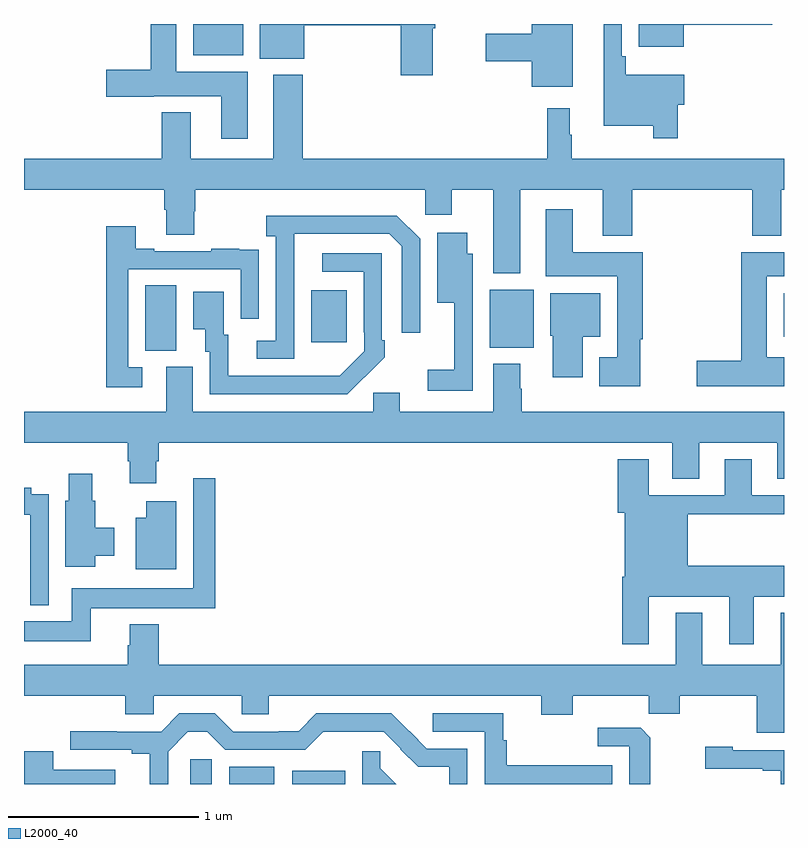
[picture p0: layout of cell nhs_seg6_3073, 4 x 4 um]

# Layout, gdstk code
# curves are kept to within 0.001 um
import gdstk
lib = gdstk.Library(unit=1e-6, precision=1e-09)
def R(c, l, rs):  # rectangles x0, y0, x1, y1
    for r in rs: c.add(gdstk.rectangle(r[:2], r[2:], *l))
def P(c, l, *ps):  # polygons
    for p in ps: c.add(gdstk.Polygon(p, *l))
L2000_40 = (2000, 40)

nhs_seg6_3073 = lib.new_cell('nhs_seg6_3073')
R(nhs_seg6_3073, L2000_40, [(291.876,985.5,291.988,985.631), (292.079,985.5,292.318,985.591), (292.412,985.5,292.69,985.57), (291.638,987.781,291.802,988.124), (293.45,987.797,293.683,988.102), (292.511,987.825,292.699,988.099), (294.998,987.854,295,988.084), (291.89,989.336,292.153,989.5)])
P(nhs_seg6_3073, L2000_40, [(294.472,989.495),(294.937,989.495),(294.937,989.5),(294.236,989.5),(294.236,989.381),(294.472,989.381)],
  [(293.152,989.477),(293.165,989.477),(293.165,989.5),(292.241,989.5),(292.241,989.318),(292.474,989.318),(292.474,989.494),(292.982,989.494),(292.982,989.229),(293.152,989.229)],
  [(294.44,989.075),(294.475,989.075),(294.475,989.233),(294.167,989.233),(294.167,989.329),(294.147,989.329),(294.147,989.5),(294.05,989.5),(294.05,988.964),(294.312,988.964),(294.312,988.899),(294.44,988.899)],
  [(292.177,989.248),(291.802,989.248),(291.802,989.5),(291.668,989.5),(291.668,989.258),(291.432,989.258),(291.432,989.116),(291.684,989.116),(291.684,989.12),(292.037,989.12),(292.037,988.896),(292.177,988.896)],
  [(293.887,989.5),(293.672,989.5),(293.672,989.45),(293.43,989.45),(293.43,989.303),(293.672,989.303),(293.672,989.171),(293.887,989.171)],
  [(293.611,988.628),(294.047,988.628),(294.047,988.385),(294.2,988.385),(294.2,988.628),(294.833,988.628),(294.833,988.385),(294.985,988.385),(294.985,988.628),(295,988.628),(295,988.792),(293.884,988.792),(293.884,988.916),(293.872,988.916),(293.872,989.056),(293.755,989.056),(293.755,988.792),(292.466,988.792),(292.466,989.233),(292.313,989.233),(292.313,988.792),(291.877,988.792),(291.877,989.035),(291.725,989.035),(291.725,988.792),(291,988.792),(291,988.628),(291.737,988.628),(291.737,988.522),(291.749,988.522),(291.749,988.39),(291.897,988.39),(291.897,988.515),(291.902,988.515),(291.902,988.628),(293.112,988.628),(293.112,988.497),(293.251,988.497),(293.251,988.628),(293.471,988.628),(293.471,988.187),(293.611,988.187)],
  [(294.244,987.841),(294.257,987.841),(294.257,988.3),(293.887,988.3),(293.887,988.525),(293.747,988.525),(293.747,988.172),(294.122,988.172),(294.122,987.745),(294.027,987.745),(294.027,987.593),(294.244,987.593)],
  [(292.422,988.195),(292.423,988.395),(292.923,988.395),(292.989,988.329),(292.989,987.876),(293.085,987.876),(293.085,988.369),(292.962,988.492),(292.275,988.492),(292.275,988.382),(292.326,988.382),(292.326,987.834),(292.224,987.834),(292.224,987.738),(292.422,987.738)],
  [(291.622,987.693),(291.549,987.693),(291.549,988.209),(292.14,988.209),(292.14,987.948),(292.236,987.948),(292.236,988.202),(292.235,988.202),(292.235,988.311),(292.133,988.311),(292.133,988.318),(291.985,988.318),(291.985,988.305),(291.685,988.305),(291.685,988.318),(291.589,988.318),(291.589,988.435),(291.433,988.435),(291.433,987.588),(291.622,987.588)],
  [(293.361,988.291),(293.332,988.291),(293.332,988.402),(293.174,988.402),(293.174,988.034),(293.264,988.034),(293.264,987.679),(293.124,987.679),(293.124,987.57),(293.361,987.57)],
  [(295,987.745),(294.91,987.745),(294.91,988.172),(295,988.172),(295,988.3),(294.776,988.3),(294.776,987.728),(294.54,987.728),(294.54,987.593),(295,987.593)],
  [(292.793,987.643),(292.794,987.642),(292.899,987.747),(292.899,987.835),(292.884,987.835),(292.884,988.293),(292.569,988.293),(292.569,988.197),(292.788,988.197),(292.788,987.877),(292.791,987.877),(292.791,987.777),(292.663,987.649),(292.075,987.648),(292.075,987.864),(292.051,987.864),(292.051,988.09),(291.89,988.09),(291.89,987.893),(291.953,987.893),(291.953,987.774),(291.978,987.774),(291.978,987.552),(292.702,987.552)],
  [(293.941,987.854),(294.034,987.854),(294.034,988.084),(293.771,988.084),(293.771,987.858),(293.783,987.858),(293.783,987.642),(293.941,987.642)],
  [(291.697,987.198),(291.71,987.198),(291.71,987.296),(294.413,987.296),(294.413,987.106),(294.553,987.106),(294.553,987.296),(294.965,987.296),(294.965,987.106),(295,987.106),(295,987.46),(293.619,987.46),(293.619,987.581),(293.611,987.581),(293.611,987.712),(293.471,987.712),(293.471,987.46),(292.978,987.46),(292.978,987.558),(292.839,987.558),(292.839,987.46),(291.889,987.46),(291.889,987.696),(291.749,987.696),(291.749,987.46),(291,987.46),(291,987.296),(291.545,987.296),(291.545,987.198),(291.557,987.198),(291.557,987.084),(291.697,987.084)],
  [(294.289,986.486),(294.713,986.486),(294.713,986.235),(294.841,986.235),(294.841,986.486),(295,986.486),(295,986.65),(294.493,986.65),(294.493,986.92),(295,986.92),(295,987.021),(294.829,987.021),(294.829,987.208),(294.689,987.208),(294.689,987.021),(294.289,987.021),(294.289,987.208),(294.125,987.208),(294.125,986.928),(294.161,986.928),(294.161,986.59),(294.149,986.59),(294.149,986.235),(294.289,986.235)],
  [(291.376,986.702),(291.475,986.702),(291.475,986.85),(291.376,986.85),(291.376,986.991),(291.358,986.991),(291.358,987.133),(291.236,987.133),(291.236,986.991),(291.218,986.991),(291.218,986.643),(291.376,986.643)],
  [(291.35,986.426),(291.884,986.426),(291.884,986.424),(292.007,986.424),(292.007,987.109),(291.891,987.109),(291.891,986.53),(291.252,986.53),(291.252,986.356),(291,986.356),(291,986.252),(291.35,986.252)],
  [(291.129,987.025),(291.037,987.025),(291.037,987.058),(291,987.058),(291,986.918),(291.033,986.918),(291.033,986.441),(291.129,986.441)],
  [(291.802,986.989),(291.644,986.989),(291.644,986.902),(291.587,986.902),(291.587,986.63),(291.802,986.63)],
  [(295,986.401),(294.983,986.401),(294.983,986.128),(294.571,986.128),(294.571,986.401),(294.431,986.401),(294.431,986.128),(291.71,986.128),(291.71,986.341),(291.557,986.341),(291.557,986.229),(291.545,986.229),(291.545,986.128),(291,986.128),(291,985.964),(291.533,985.964),(291.533,985.866),(291.684,985.866),(291.684,985.964),(292.146,985.964),(292.146,985.866),(292.288,985.866),(292.288,985.964),(293.723,985.964),(293.723,985.865),(293.887,985.865),(293.887,985.964),(294.287,985.964),(294.287,985.871),(294.451,985.871),(294.451,985.964),(294.857,985.964),(294.857,985.77),(295,985.77)],
  [(294.097,985.598),(293.54,985.598),(293.54,985.73),(293.522,985.73),(293.522,985.872),(293.151,985.872),(293.151,985.776),(293.424,985.776),(293.424,985.5),(294.097,985.5)],
  [(291.759,985.671),(291.863,985.775),(291.964,985.775),(292.059,985.68),(292.479,985.68),(292.574,985.775),(292.893,985.776),(292.983,985.686),(292.981,985.684),(293.075,985.59),(293.238,985.59),(293.238,985.5),(293.334,985.5),(293.334,985.686),(293.121,985.686),(292.933,985.872),(292.539,985.872),(292.445,985.778),(292.34,985.778),(292.34,985.776),(292.101,985.776),(292.005,985.872),(291.818,985.872),(291.722,985.776),(291.489,985.776),(291.489,985.778),(291.243,985.778),(291.243,985.68),(291.566,985.68),(291.566,985.66),(291.662,985.66),(291.662,985.5),(291.759,985.5)],
  [(294.297,985.743),(294.245,985.795),(294.021,985.795),(294.021,985.698),(294.186,985.698),(294.186,985.5),(294.297,985.5)],
  [(295,985.677),(294.729,985.677),(294.729,985.696),(294.585,985.696),(294.585,985.581),(294.887,985.581),(294.887,985.569),(294.984,985.569),(294.984,985.5),(295,985.5)],
  [(292.874,985.584),(292.874,985.672),(292.779,985.672),(292.779,985.5),(292.958,985.5)],
  [(291.481,985.576),(291.154,985.576),(291.154,985.672),(291,985.672),(291,985.5),(291.481,985.5)])

lib.write_gds('nhs_seg6_3073.gds')
